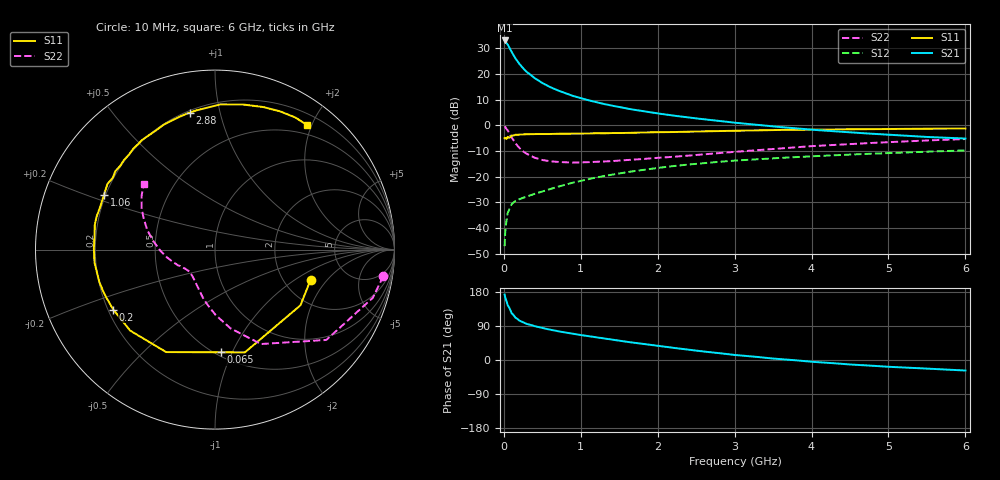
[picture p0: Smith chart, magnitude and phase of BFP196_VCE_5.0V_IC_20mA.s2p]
! Infineon Technologies  Discrete & RF Semiconductors
! BFP196
! VCE = 5.0 V,  IC =  20mA
! Common Emitter S-Parameters:  Jan 2016
# GHz  S  MA  R  50
!  f  S11  S21  S12  S22
! GHz  MAG  ANG  MAG  ANG  MAG  ANG  MAG  ANG
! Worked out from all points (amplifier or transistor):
!   210 points, 10 MHz to 6 GHz, reference 50 ohm
!   highest |S21| = 33.1 dB at 10 MHz (marker M1)
!   |S21| within 3 dB of that: start of sweep to 74.63 MHz
!   unconditionally stable (mu >= 1): 706.4 MHz to 3.483 GHz; 3.536 GHz to 3.982 GHz; 4.072 GHz to 4.136 GHz
!   at 185 MHz: K = 0.47, MSG = 26.8 dB, |S12| = -29.0 dB
!   at 1.52 GHz: K = 1.11, MAG = 10.8 dB, |S12| = -18.7 dB
!   at 6 GHz: K = 0.96, MSG = 2.3 dB, |S12| = -9.8 dB
!   S11 on the Smith chart (normalised r, x): 10 MHz: 2.80, -1.36; 65 MHz: 0.53, -0.91; 200 MHz: 0.22, -0.26; 1.06 GHz: 0.19, +0.23; 2.88 GHz: 0.21, +0.81; 6 GHz: 0.36, +1.93
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0.01  0.5589 -17.4  44.98 172.5  0.0044 82.9  0.9492 -9.0
0.02  0.5684 -33.1  43.05 164.0  0.009 77.9  0.9193 -17.0
0.05  0.5964 -73.8  37.49 144.8  0.0195 61.7  0.7985 -39.1
0.065  0.5732 -86.5  33.95 139.9  0.0221 56.0  0.7218 -45.0
0.1  0.6325 -115.5  27.09 123.8  0.0287 46.9  0.5848 -64.1
0.15  0.6535 -136.3  20.1 111.8  0.0335 41.9  0.4476 -78.8
0.2  0.6581 -149.5  15.84 104.2  0.0361 40.9  0.3648 -89.4
0.24  0.662 -156.4  13.45 100.1  0.038 41.2  0.3197 -96.0
0.3  0.6694 -164.4  10.87 95.1  0.0408 42.3  0.277 -104.0
0.4  0.6752 -173.9  8.29 89.3  0.046 44.6  0.2333 -113.9
0.5  0.6749 179.5  6.656 84.4  0.0511 47.1  0.2105 -121.4
0.6  0.6751 173.7  5.565 80.0  0.0573 49.2  0.1991 -127.1
0.7  0.6838 168.5  4.792 75.9  0.0631 50.6  0.1929 -131.6
1.02  0.687 155.1  3.309 65.3  0.0839 52.5  0.1892 -141.1
1.06  0.6899 153.6  3.191 64.1  0.0866 52.6  0.1902 -142.0
1.4  0.7069 141.8  2.415 54.0  0.1083 51.4  0.1999 -148.5
2.02  0.7338 123.0  1.685 37.0  0.1487 45.9  0.2324 -160.2
2.88  0.7758 100.4  1.178 16.2  0.1982 35.8  0.2936 -176.4
3.1  0.7858 95.7  1.086 11.6  0.209 33.0  0.3111 179.5
4.1  0.8254 77.3  0.8 -5.9  0.2523 21.4  0.3992 162.5
5.1  0.8526 63.6  0.641 -18.8  0.2909 10.5  0.4761 149.2
6  0.8629 53.5  0.551 -27.8  0.3233 0.3  0.5392 137.6
